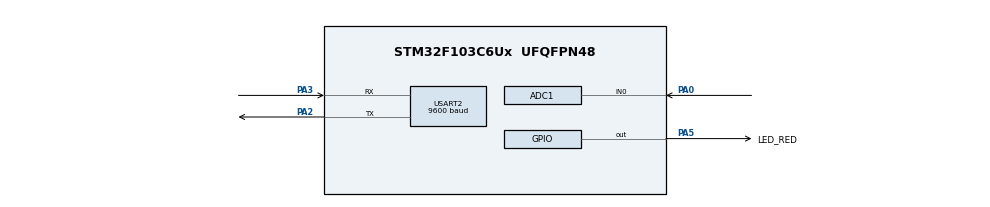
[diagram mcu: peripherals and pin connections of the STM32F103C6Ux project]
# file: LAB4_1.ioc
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ADC1.Channel-1\#ChannelRegularConversion=ADC_CHANNEL_0
ADC1.ContinuousConvMode=ENABLE
ADC1.NbrOfConversionFlag=1
ADC1.Rank-1\#ChannelRegularConversion=1
ADC1.SamplingTime-1\#ChannelRegularConversion=ADC_SAMPLETIME_1CYCLE_5
ADC1.master=1
Mcu.Family=STM32F1
Mcu.Name=STM32F103C6Ux
Mcu.Package=UFQFPN48
NVIC.PriorityGroup=NVIC_PRIORITYGROUP_4
NVIC.TIM2_IRQn=true\:0\:0\:false\:false\:true\:true\:true\:true
NVIC.USART2_IRQn=true\:0\:0\:false\:false\:true\:true\:true\:true
PA0-WKUP.Signal=ADCx_IN0
PA2.Mode=Asynchronous
PA2.Signal=USART2_TX
PA3.Mode=Asynchronous
PA3.Signal=USART2_RX
PA5.GPIO_Label=LED_RED
PA5.Signal=GPIO_Output
PA6.Signal=S_TIM3_CH1
ProjectManager.HeapSize=0x200
ProjectManager.StackSize=0x400
ProjectManager.TargetToolchain=STM32CubeIDE
RCC.APB1Freq_Value=8000000
RCC.APB2Freq_Value=8000000
SH.ADCx_IN0.0=ADC1_IN0,IN0
SH.S_TIM3_CH1.0=TIM3_CH1
TIM2.Period=9
TIM2.Prescaler=7999
USART2.BaudRate=9600
USART2.VirtualMode=VM_ASYNC
VP_SYS_VS_ND.Mode=No_Debug
VP_TIM2_VS_ClockSourceINT.Mode=Internal
board=custom

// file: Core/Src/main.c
/* USER CODE BEGIN Header */
/**
  ******************************************************************************
  * @file           : main.c
  * @brief          : Main program body
  ******************************************************************************
  * @attention
  *
  * Copyright (c) 2023 STMicroelectronics.
  * All rights reserved.
  *
  * This software is licensed under terms that can be found in the LICENSE file
  * in the root directory of this software component.
  * If no LICENSE file comes with this software, it is provided AS-IS.
  *
  ******************************************************************************
  */
/* USER CODE END Header */
#include "main.h"
#include "fsm.h"
#include "softwaretimer.h"
#include "scheduler.h"

ADC_HandleTypeDef hadc1;

TIM_HandleTypeDef htim2;

UART_HandleTypeDef huart2;

void SystemClock_Config(void);
static void MX_GPIO_Init(void);
static void MX_ADC1_Init(void);
static void MX_USART2_UART_Init(void);
static void MX_TIM2_Init(void);

/* USER CODE BEGIN 0 */
#define MAX_BUFFER_SIZE  30
uint8_t temp = 0;
uint8_t buffer[MAX_BUFFER_SIZE];
uint8_t index_buffer = 0;
uint8_t buffer_flag = 0;
void HAL_UART_RxCpltCallback(UART_HandleTypeDef *huart){
	if(huart->Instance == USART2){

		HAL_UART_Transmit(&huart2, &temp, 1, 50);
		buffer[index_buffer++] = temp;
		if(index_buffer == 30) index_buffer = 0;

		buffer_flag = 1;
		HAL_UART_Receive_IT(&huart2, &temp, 1);
	}
}
int ADC_value;
void Led_Toggle()
{
	HAL_GPIO_TogglePin(GPIOA, GPIO_PIN_5);
}
void Uart()
{
	if(buffer_flag == 1){
				command_parser_fsm();
				buffer_flag = 0;
		}

	uart_communiation_fsm();
}
/* USER CODE END 0 */

int main(void)
{

  /* MCU Configuration--------------------------------------------------------*/

  /* Reset of all peripherals, Initializes the Flash interface and the Systick. */
  HAL_Init();

  /* Configure the system clock */
  SystemClock_Config();

  /* Initialize all configured peripherals */
  MX_GPIO_Init();
  MX_ADC1_Init();
  MX_USART2_UART_Init();
  MX_TIM2_Init();
  /* USER CODE BEGIN 2 */
  HAL_UART_Receive_IT (& huart2 , & temp , 1) ;
  HAL_TIM_Base_Start_IT(&htim2);
  char str[30];
  //SetTimer(50, 2);
  //SetTimer(1, 0);
  //SetTimer(1, 1);
  HAL_ADC_Start(&hadc1);
	ADC_value = HAL_ADC_GetValue(&hadc1);
	HAL_ADC_Stop(&hadc1);
  /* USER CODE END 2 */
	SCH_Add_Task(Led_Toggle, 0, 100);
	SCH_Add_Task(Uart, 0, 100);
  /* Infinite loop */
  /* USER CODE BEGIN WHILE */
	while (1){
		SCH_Dispatch_Tasks();
	}
  /* USER CODE END 3 */
}

void SystemClock_Config(void)
{
  RCC_OscInitTypeDef RCC_OscInitStruct = {0};
  RCC_ClkInitTypeDef RCC_ClkInitStruct = {0};
  RCC_PeriphCLKInitTypeDef PeriphClkInit = {0};

  /** Initializes the RCC Oscillators according to the specified parameters
  * in the RCC_OscInitTypeDef structure.
  */
  RCC_OscInitStruct.OscillatorType = RCC_OSCILLATORTYPE_HSI;
  RCC_OscInitStruct.HSIState = RCC_HSI_ON;
  RCC_OscInitStruct.HSICalibrationValue = RCC_HSICALIBRATION_DEFAULT;
  RCC_OscInitStruct.PLL.PLLState = RCC_PLL_NONE;
  if (HAL_RCC_OscConfig(&RCC_OscInitStruct) != HAL_OK)
  {
    Error_Handler();
  }

  /** Initializes the CPU, AHB and APB buses clocks
  */
  RCC_ClkInitStruct.ClockType = RCC_CLOCKTYPE_HCLK|RCC_CLOCKTYPE_SYSCLK
                              |RCC_CLOCKTYPE_PCLK1|RCC_CLOCKTYPE_PCLK2;
  RCC_ClkInitStruct.SYSCLKSource = RCC_SYSCLKSOURCE_HSI;
  RCC_ClkInitStruct.AHBCLKDivider = RCC_SYSCLK_DIV1;
  RCC_ClkInitStruct.APB1CLKDivider = RCC_HCLK_DIV1;
  RCC_ClkInitStruct.APB2CLKDivider = RCC_HCLK_DIV1;

  if (HAL_RCC_ClockConfig(&RCC_ClkInitStruct, FLASH_LATENCY_0) != HAL_OK)
  {
    Error_Handler();
  }
  PeriphClkInit.PeriphClockSelection = RCC_PERIPHCLK_ADC;
  PeriphClkInit.AdcClockSelection = RCC_ADCPCLK2_DIV2;
  if (HAL_RCCEx_PeriphCLKConfig(&PeriphClkInit) != HAL_OK)
  {
    Error_Handler();
  }
}

static void MX_ADC1_Init(void)
{

  ADC_ChannelConfTypeDef sConfig = {0};

  /** Common config
  */
  hadc1.Instance = ADC1;
  hadc1.Init.ScanConvMode = ADC_SCAN_DISABLE;
  hadc1.Init.ContinuousConvMode = ENABLE;
  hadc1.Init.DiscontinuousConvMode = DISABLE;
  hadc1.Init.ExternalTrigConv = ADC_SOFTWARE_START;
  hadc1.Init.DataAlign = ADC_DATAALIGN_RIGHT;
  hadc1.Init.NbrOfConversion = 1;
  if (HAL_ADC_Init(&hadc1) != HAL_OK)
  {
    Error_Handler();
  }

  /** Configure Regular Channel
  */
  sConfig.Channel = ADC_CHANNEL_0;
  sConfig.Rank = ADC_REGULAR_RANK_1;
  sConfig.SamplingTime = ADC_SAMPLETIME_1CYCLE_5;
  if (HAL_ADC_ConfigChannel(&hadc1, &sConfig) != HAL_OK)
  {
    Error_Handler();
  }

}

static void MX_TIM2_Init(void)
{

  TIM_ClockConfigTypeDef sClockSourceConfig = {0};
  TIM_MasterConfigTypeDef sMasterConfig = {0};

  htim2.Instance = TIM2;
  htim2.Init.Prescaler = 7999;
  htim2.Init.CounterMode = TIM_COUNTERMODE_UP;
  htim2.Init.Period = 9;
  htim2.Init.ClockDivision = TIM_CLOCKDIVISION_DIV1;
  htim2.Init.AutoReloadPreload = TIM_AUTORELOAD_PRELOAD_DISABLE;
  if (HAL_TIM_Base_Init(&htim2) != HAL_OK)
  {
    Error_Handler();
  }
  sClockSourceConfig.ClockSource = TIM_CLOCKSOURCE_INTERNAL;
  if (HAL_TIM_ConfigClockSource(&htim2, &sClockSourceConfig) != HAL_OK)
  {
    Error_Handler();
  }
  sMasterConfig.MasterOutputTrigger = TIM_TRGO_RESET;
  sMasterConfig.MasterSlaveMode = TIM_MASTERSLAVEMODE_DISABLE;
  if (HAL_TIMEx_MasterConfigSynchronization(&htim2, &sMasterConfig) != HAL_OK)
  {
    Error_Handler();
  }

}

static void MX_USART2_UART_Init(void)
{

  huart2.Instance = USART2;
  huart2.Init.BaudRate = 9600;
  huart2.Init.WordLength = UART_WORDLENGTH_8B;
  huart2.Init.StopBits = UART_STOPBITS_1;
  huart2.Init.Parity = UART_PARITY_NONE;
  huart2.Init.Mode = UART_MODE_TX_RX;
  huart2.Init.HwFlowCtl = UART_HWCONTROL_NONE;
  huart2.Init.OverSampling = UART_OVERSAMPLING_16;
  if (HAL_UART_Init(&huart2) != HAL_OK)
  {
    Error_Handler();
  }

}

static void MX_GPIO_Init(void)
{
  GPIO_InitTypeDef GPIO_InitStruct = {0};

  /* GPIO Ports Clock Enable */
  __HAL_RCC_GPIOA_CLK_ENABLE();

  /*Configure GPIO pin Output Level */
  HAL_GPIO_WritePin(LED_RED_GPIO_Port, LED_RED_Pin, GPIO_PIN_RESET);

  /*Configure GPIO pin : LED_RED_Pin */
  GPIO_InitStruct.Pin = LED_RED_Pin;
  GPIO_InitStruct.Mode = GPIO_MODE_OUTPUT_PP;
  GPIO_InitStruct.Pull = GPIO_NOPULL;
  GPIO_InitStruct.Speed = GPIO_SPEED_FREQ_LOW;
  HAL_GPIO_Init(LED_RED_GPIO_Port, &GPIO_InitStruct);

  /*Configure GPIO pin : PA6 */
  GPIO_InitStruct.Pin = GPIO_PIN_6;
  GPIO_InitStruct.Mode = GPIO_MODE_AF_PP;
  GPIO_InitStruct.Speed = GPIO_SPEED_FREQ_LOW;
  HAL_GPIO_Init(GPIOA, &GPIO_InitStruct);

}

/* USER CODE BEGIN 4 */
void HAL_TIM_PeriodElapsedCallback(TIM_HandleTypeDef *htim)
{
	SCH_Update();
}
/* USER CODE END 4 */

void Error_Handler(void)
{
  __disable_irq();
  while (1)
  {
  }
}
